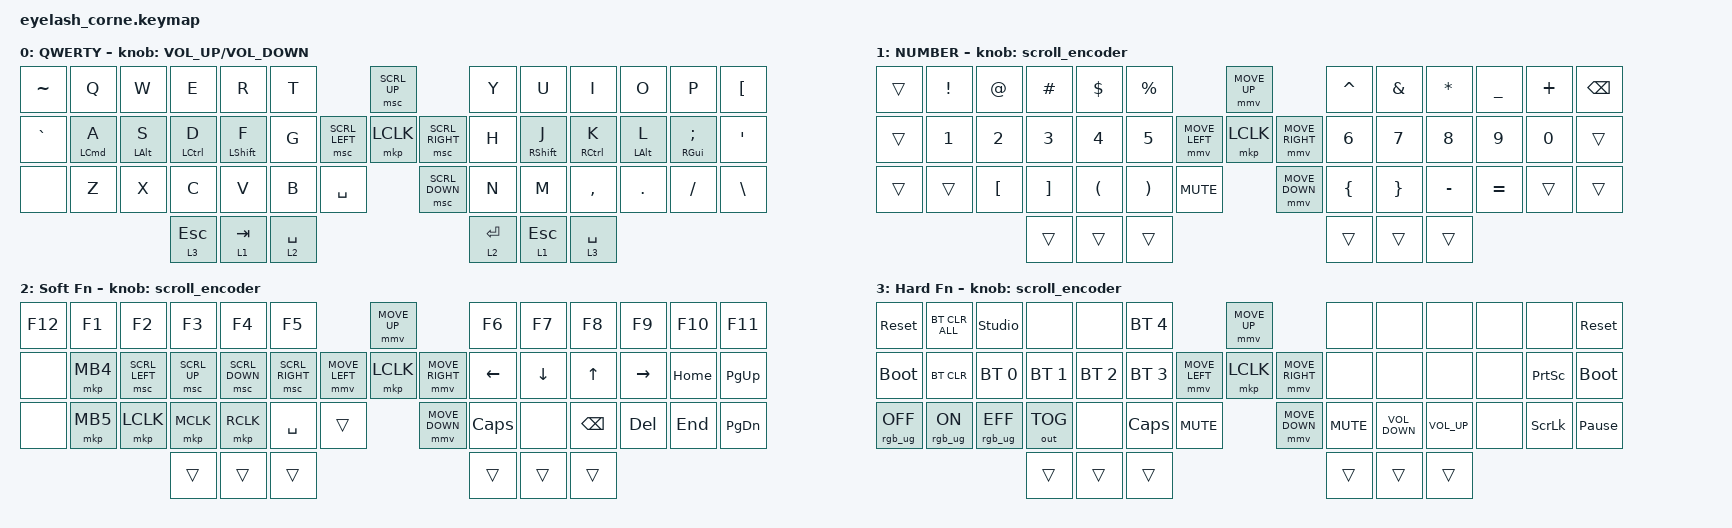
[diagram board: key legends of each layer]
#include <dt-bindings/zmk/mouse.h>
#include <input/processors.dtsi>
#include <behaviors.dtsi>
#include <dt-bindings/zmk/bt.h>
#include <dt-bindings/zmk/keys.h>
#include <dt-bindings/zmk/outputs.h>
#include <dt-bindings/zmk/pointing.h>
#include <dt-bindings/zmk/rgb.h>

/*

   &mmv_input_listener {
       input-processors = <&zip_xy_scaler 2 1>;
   };

   &msc_input_listener {
       input-processors = <&zip_xy_scaler 2 1>;
   };

 */

#define ZMK_MOUSE_DEFAULT_MOVE_VAL 1200  // 600
#define ZMK_MOUSE_DEFAULT_SCRL_VAL 20    // 10

/ {
    behaviors {
        td0: td0 {
            compatible = "zmk,behavior-tap-dance";
            display-name = "Shift/Caps Lock Tap Dance";
            #binding-cells = <0>;
            bindings = <&kp LEFT_SHIFT>, <&kp CAPS>;
        };

        hm: homerow_mods {
            compatible = "zmk,behavior-hold-tap";
            label = "HM";
            bindings = <&kp>, <&kp>;

            #binding-cells = <2>;
            tapping-term-ms = <170>;
            quick-tap-ms = <0>;
            flavor = "balanced";
        };
    };

    rgb_encoder: rgb_encoder {
        compatible = "zmk,behavior-sensor-rotate";
        #sensor-binding-cells = <0>;
        bindings = <&rgb_ug RGB_BRI>, <&rgb_ug RGB_BRD>;
    };

    scroll_encoder: scroll_encoder {
        compatible = "zmk,behavior-sensor-rotate";
        #sensor-binding-cells = <0>;
        bindings = <&msc SCRL_DOWN>, <&msc SCRL_UP>;

        tap-ms = <30>;
    };

    keymap {
        compatible = "zmk,keymap";

        default_layer {
            display-name = "QWERTY";
            bindings = <
&kp TILDE  &kp Q       &kp W           &kp E         &kp R             &kp T                                     &msc SCRL_UP                     &kp Y        &kp U              &kp I        &kp O           &kp P                    &kp LEFT_BRACKET
&kp GRAVE  &hm LCMD A  &hm LEFT_ALT S  &hm LCTRL D   &hm LEFT_SHIFT F  &kp G                     &msc SCRL_LEFT  &mkp LCLK       &msc SCRL_RIGHT  &kp H        &hm RIGHT_SHIFT J  &hm RCTRL K  &hm LEFT_ALT L  &hm RIGHT_GUI SEMICOLON  &kp SQT
&none      &kp Z       &kp X           &kp C         &kp V             &kp B        &kp SPACE                    &msc SCRL_DOWN                   &kp N        &kp M              &kp COMMA    &kp DOT         &kp FSLH                 &kp BACKSLASH
                                       &lt 3 ESCAPE  &lt 1 TAB         &lt 2 SPACE                                                                &lt 2 ENTER  &lt 1 ESCAPE       &lt 3 SPACE
            >;

            sensor-bindings = <&inc_dec_kp C_VOLUME_UP C_VOLUME_DOWN>;
        };

        lower_layer {
            display-name = "NUMBER";
            bindings = <
&trans  &kp EXCLAMATION  &kp AT_SIGN  &kp HASH  &kp DOLLAR            &kp PERCENT                                          &mmv MOVE_UP                     &kp CARET       &kp AMPERSAND    &kp ASTERISK  &kp UNDERSCORE  &kp PLUS  &kp BSPC
&trans  &kp N1           &kp N2       &kp N3    &kp N4                &kp N5                               &mmv MOVE_LEFT  &mkp LCLK       &mmv MOVE_RIGHT  &kp N6          &kp N7           &kp N8        &kp N9          &kp N0    &trans
&trans  &trans           &kp LBKT     &kp RBKT  &kp LEFT_PARENTHESIS  &kp RIGHT_PARENTHESIS  &kp C_MUTE                    &mmv MOVE_DOWN                   &kp LEFT_BRACE  &kp RIGHT_BRACE  &kp MINUS     &kp EQUAL       &trans    &trans
                                      &trans    &trans                &trans                                                                                &trans          &trans           &trans
            >;

            sensor-bindings = <&scroll_encoder>;
        };

        raise_layer {
            display-name = "Soft Fn";
            bindings = <
&kp F12  &kp F1    &kp F2          &kp F3        &kp F4          &kp F5                                     &mmv MOVE_UP                     &kp F6        &kp F7    &kp F8    &kp F9     &kp F10   &kp F11
&none    &mkp MB4  &msc SCRL_LEFT  &msc SCRL_UP  &msc SCRL_DOWN  &msc SCRL_RIGHT            &mmv MOVE_LEFT  &mkp LCLK       &mmv MOVE_RIGHT  &kp LEFT      &kp DOWN  &kp UP    &kp RIGHT  &kp HOME  &kp PG_UP
&none    &mkp MB5  &mkp LCLK       &mkp MCLK     &mkp RCLK       &kp SPACE        &trans                    &mmv MOVE_DOWN                   &kp CAPSLOCK  &none     &kp BSPC  &kp DEL    &kp END   &kp PG_DN
                                   &trans        &trans          &trans                                                                      &trans        &trans    &trans
            >;

            sensor-bindings = <&scroll_encoder>;
        };

        config {
            display-name = "Hard Fn";
            bindings = <
&sys_reset       &bt BT_CLR_ALL  &studio_unlock   &none         &none         &bt BT_SEL 4                                &mmv MOVE_UP                     &none       &none              &none            &none  &none            &sys_reset
&bootloader      &bt BT_CLR      &bt BT_SEL 0     &bt BT_SEL 1  &bt BT_SEL 2  &bt BT_SEL 3                &mmv MOVE_LEFT  &mkp LCLK       &mmv MOVE_RIGHT  &none       &none              &none            &none  &kp PRINTSCREEN  &bootloader
&rgb_ug RGB_OFF  &rgb_ug RGB_ON  &rgb_ug RGB_EFF  &out OUT_TOG  &none         &kp CAPSLOCK  &kp C_MUTE                    &mmv MOVE_DOWN                   &kp C_MUTE  &kp C_VOLUME_DOWN  &kp C_VOLUME_UP  &none  &kp SCROLLLOCK   &kp PAUSE_BREAK
                                                  &trans        &trans        &trans                                                                       &trans      &trans             &trans
            >;

            sensor-bindings = <&scroll_encoder>;
        };
    };
};
